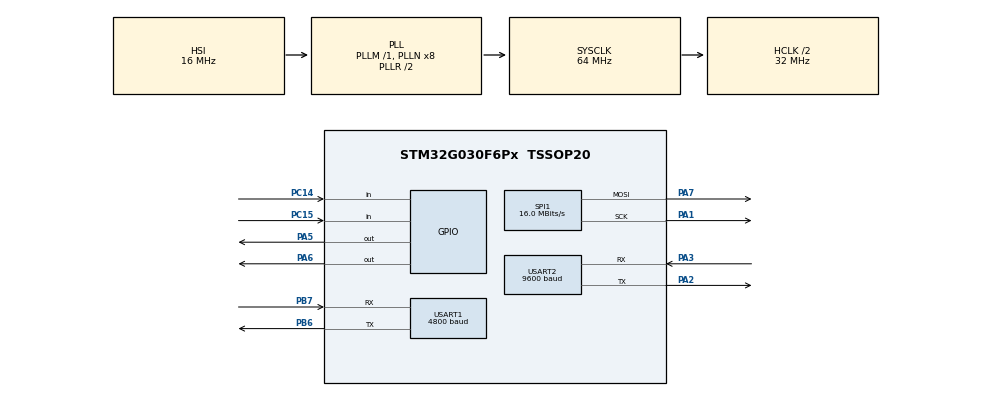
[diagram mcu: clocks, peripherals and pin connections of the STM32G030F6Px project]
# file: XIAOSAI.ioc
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Dma.Request0=USART1_RX
Dma.USART1_RX.0.Direction=DMA_PERIPH_TO_MEMORY
Dma.USART1_RX.0.EventEnable=DISABLE
Dma.USART1_RX.0.Instance=DMA1_Channel1
Dma.USART1_RX.0.MemDataAlignment=DMA_MDATAALIGN_BYTE
Dma.USART1_RX.0.MemInc=DMA_MINC_ENABLE
Dma.USART1_RX.0.Mode=DMA_NORMAL
Dma.USART1_RX.0.PeriphDataAlignment=DMA_PDATAALIGN_BYTE
Dma.USART1_RX.0.PeriphInc=DMA_PINC_DISABLE
Dma.USART1_RX.0.Polarity=HAL_DMAMUX_REQ_GEN_RISING
Dma.USART1_RX.0.Priority=DMA_PRIORITY_MEDIUM
Dma.USART1_RX.0.RequestNumber=1
Dma.USART1_RX.0.SignalID=NONE
Dma.USART1_RX.0.SyncEnable=DISABLE
Dma.USART1_RX.0.SyncPolarity=HAL_DMAMUX_SYNC_NO_EVENT
Dma.USART1_RX.0.SyncRequestNumber=1
Dma.USART1_RX.0.SyncSignalID=NONE
Mcu.Family=STM32G0
Mcu.Name=STM32G030F6Px
Mcu.Package=TSSOP20
NVIC.DMA1_Channel1_IRQn=true\:0\:0\:false\:false\:true\:false\:true\:true
NVIC.TIM3_IRQn=true\:0\:0\:false\:false\:true\:true\:true\:true
NVIC.USART1_IRQn=true\:1\:0\:true\:false\:true\:true\:true\:true
PA1.Mode=TX_Only_Simplex_Unidirect_Master
PA1.Signal=SPI1_SCK
PA13.Mode=Serial_Wire
PA13.Signal=SYS_SWDIO
PA14-BOOT0.Mode=Serial_Wire
PA14-BOOT0.Signal=SYS_SWCLK
PA14-BOOT0__PA15.StandardMode=true
PA2.Mode=Asynchronous
PA2.Signal=USART2_TX
PA3.Mode=Asynchronous
PA3.Signal=USART2_RX
PA5.GPIO_ModeDefaultOutputPP=GPIO_MODE_OUTPUT_PP
PA5.GPIO_Speed=GPIO_SPEED_FREQ_HIGH
PA5.PinState=GPIO_PIN_SET
PA5.Signal=GPIO_Output
PA6.Signal=GPIO_Output
PA7.Mode=TX_Only_Simplex_Unidirect_Master
PA7.Signal=SPI1_MOSI
PB0__PB1__PB2__PA8.StandardMode=true
PB3__PB4__PB5__PB6.StandardMode=true
PB6.Mode=Asynchronous
PB6.Signal=USART1_TX
PB7.Mode=Asynchronous
PB7.Signal=USART1_RX
PB7__PB8.StandardMode=true
PC14-OSC32_IN\ (PC14).GPIO_PuPd=GPIO_PULLUP
PC14-OSC32_IN\ (PC14).Signal=GPIO_Input
PC14-OSC32_IN\ (PC14)__PB9.StandardMode=true
PC15-OSC32_OUT\ (PC15).GPIO_PuPd=GPIO_PULLUP
PC15-OSC32_OUT\ (PC15).Signal=GPIO_Input
ProjectManager.HeapSize=0x200
ProjectManager.StackSize=0x400
ProjectManager.TargetToolchain=MDK-ARM V5.32
RCC.ADCFreq_Value=64000000
RCC.AHBCLKDivider=RCC_SYSCLK_DIV2
RCC.AHBFreq_Value=32000000
RCC.CortexFreq_Value=32000000
RCC.EXTERNAL_CLOCK_VALUE=12288000
RCC.HCLKFreq_Value=32000000
RCC.HSE_VALUE=8000000
RCC.HSI_VALUE=16000000
RCC.LSE_VALUE=32768
RCC.SYSCLKFreq_VALUE=64000000
RCC.SYSCLKSource=RCC_SYSCLKSOURCE_PLLCLK
RCC.VCOOutputFreq_Value=128000000
SPI1.CalculateBaudRate=16.0 MBits/s
SPI1.Direction=SPI_DIRECTION_2LINES
SPI1.Mode=SPI_MODE_MASTER
SPI1.NSSPMode=SPI_NSS_PULSE_DISABLE
SPI1.VirtualType=VM_MASTER
TIM3.Period=100-1
TIM3.Prescaler=3200-1
USART1.BaudRate=4800
USART1.DMADisableonRxErrorParam=ADVFEATURE_DMA_ENABLEONRXERROR
USART1.Mode=MODE_TX_RX
USART1.Parity=PARITY_EVEN
USART1.VirtualMode-Asynchronous=VM_ASYNC
USART1.WordLength=WORDLENGTH_9B
USART2.BaudRate=9600
USART2.VirtualMode-Asynchronous=VM_ASYNC
VP_TIM3_VS_ClockSourceINT.Mode=Internal
board=custom

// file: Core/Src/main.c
/* USER CODE BEGIN Header */
/**
  ******************************************************************************
  * @file           : main.c
  * @brief          : Main program body
  ******************************************************************************
  * @attention
  *
  * Copyright (c) 2024 STMicroelectronics.
  * All rights reserved.
  *
  * This software is licensed under terms that can be found in the LICENSE file
  * in the root directory of this software component.
  * If no LICENSE file comes with this software, it is provided AS-IS.
  *
  ******************************************************************************
  */
/* USER CODE END Header */
#include "main.h"
#include "dma.h"
#include "spi.h"
#include "tim.h"
#include "usart.h"
#include "gpio.h"

/* USER CODE BEGIN Includes */
#include "stdio.h"
#include "oled.h"
#include "screen.h"
#include "interrupt.h"
#include "hlw8032.h"
#include "string.h"
/* USER CODE END Includes */

/* USER CODE BEGIN PV */
uint8_t scr;

//定义屏幕刷新状态机
struct SCR scra={0,0,0};//新状态
struct SCR scro={0,0,0};//旧状态

//定义设备检测状态机
bool dev_key =0;

//全局调用按键结构体
extern struct keys key[];

//数据处理进度状态机
uint8_t HLW_sta=0;

//串口1
uint8_t Resbuf[48]; //串口1接收缓冲区
uint8_t RawData[24]; //缓冲区中读出整组数据
uint16_t Receive; //串口读取临时数据

uint8_t uart_flag =100;//有效数据在缓冲区中位置，100表示未找到有效数据

//电参数
float V =0; //有效电压
double C =0;//有效电流
double P =0;//有功功率
double E_CON =0;
double AP =0;//视在功率
double PF =0;//功率因数

//声明电参数寄存器结构体
struct REG reg={0,0,0,0,0,0} ;

//设备特征
struct DEV device[7];

/* USER CODE END PV */

void SystemClock_Config(void);

int main(void)
{

  /* MCU Configuration--------------------------------------------------------*/

  /* Reset of all peripherals, Initializes the Flash interface and the Systick. */
  HAL_Init();

  /* Configure the system clock */
  SystemClock_Config();

  /* Initialize all configured peripherals */
  MX_GPIO_Init();
  MX_DMA_Init();
  MX_SPI1_Init();
  MX_USART1_UART_Init();
  MX_USART2_UART_Init();
  MX_TIM3_Init();
  /* USER CODE BEGIN 2 */

	//读入设备特征量
	device[0].pow = 5;//1.最小电流用电器（开关电源串电阻）
	device[0].fac = 50;
	device[0].ps = 2;
	device[0].fs = 10;
	device[1].pow = 8;//2.iPhone
	device[1].fac = 41;
	device[1].ps = 2;
	device[1].fs = 2;
	device[2].pow = 31;//3.平板电脑
	device[2].fac = 54;
	device[2].ps = 2;
	device[2].fs = 2;
	device[3].pow = 40;//4.笔记本电脑
	device[3].fac = 50;
	device[3].ps = 10;
	device[3].fs = 10;
	device[4].pow = 35;//5.路由器
	device[4].fac = 50;
	device[4].ps = 10;
	device[4].fs = 10;
	device[5].pow = 35;//6.台式机电脑
	device[5].fac = 50;
	device[5].ps = 10;
	device[5].fs = 10;
	device[6].pow = 1200;//7.最大功率用电器（烧水壶）
	device[6].fac = 95;
	device[6].ps = 200;
	device[6].fs = 10;

	//初始化屏幕状态机
	scra.page_flag =0;
	scra.page1 =0;
	scro.page_flag =0;
	scro.page1 =0;

	//初始化定时器中断
	HAL_TIM_Base_Start_IT (&htim3 );
	printf("TIM_IT_ON \r\n");

	//初始化OLED显示
	OLED_Init();
  SCREEN_Start();
	HAL_Delay(2000);
  OLED_Clear();
	SCREEN_First_EN();
	OLED_Refresh();

	printf("OLED_ON \r\n");

  /* USER CODE END 2 */

  /* Infinite loop */
  /* USER CODE BEGIN WHILE */
  while (1)
  {

		GetData();

		SerchData();

		//转移数据包
		if(uart_flag<=24){
			for(int i=0;i<=23;i++){
			  RawData [i]=Resbuf [uart_flag+i];
		  }
		}
		uart_flag=100;

		//分离寄存器值
		RawTrans();

		ProcessData();

		//InputData();

		//按键事件_刷新屏幕
		if(key [0].s_flag ==1)
		{
			SCRPP();
			key [0].s_flag =0;
		}
		if(key [0].l_flag ==1)
		{
			if (scra.page_flag ==0) scra.page_flag =1;
			else scra.page_flag =0;
			key [0].l_flag =0;
		}

		//按键事件，用电器检测
		if(key [1].s_flag ==1)
		{
			//单击开始检测
			dev_key=1;
			key [1].s_flag =0;
			int comp =Compare();
			OLED_ShowNum(70,0,comp+1,3,12);
			OLED_Refresh();
		}

		if(key [0].l_flag ==1)
		{
			if (scra.page_flag ==0) scra.page_flag =1;
			else scra.page_flag =0;
			key [0].l_flag =0;
		}

    /* USER CODE END WHILE */

  }
}

void SystemClock_Config(void)
{
  RCC_OscInitTypeDef RCC_OscInitStruct = {0};
  RCC_ClkInitTypeDef RCC_ClkInitStruct = {0};

  /** Configure the main internal regulator output voltage
  */
  HAL_PWREx_ControlVoltageScaling(PWR_REGULATOR_VOLTAGE_SCALE1);

  /** Initializes the RCC Oscillators according to the specified parameters
  * in the RCC_OscInitTypeDef structure.
  */
  RCC_OscInitStruct.OscillatorType = RCC_OSCILLATORTYPE_HSI;
  RCC_OscInitStruct.HSIState = RCC_HSI_ON;
  RCC_OscInitStruct.HSIDiv = RCC_HSI_DIV1;
  RCC_OscInitStruct.HSICalibrationValue = RCC_HSICALIBRATION_DEFAULT;
  RCC_OscInitStruct.PLL.PLLState = RCC_PLL_ON;
  RCC_OscInitStruct.PLL.PLLSource = RCC_PLLSOURCE_HSI;
  RCC_OscInitStruct.PLL.PLLM = RCC_PLLM_DIV1;
  RCC_OscInitStruct.PLL.PLLN = 8;
  RCC_OscInitStruct.PLL.PLLP = RCC_PLLP_DIV2;
  RCC_OscInitStruct.PLL.PLLR = RCC_PLLR_DIV2;
  if (HAL_RCC_OscConfig(&RCC_OscInitStruct) != HAL_OK)
  {
    Error_Handler();
  }

  /** Initializes the CPU, AHB and APB buses clocks
  */
  RCC_ClkInitStruct.ClockType = RCC_CLOCKTYPE_HCLK|RCC_CLOCKTYPE_SYSCLK
                              |RCC_CLOCKTYPE_PCLK1;
  RCC_ClkInitStruct.SYSCLKSource = RCC_SYSCLKSOURCE_PLLCLK;
  RCC_ClkInitStruct.AHBCLKDivider = RCC_SYSCLK_DIV2;
  RCC_ClkInitStruct.APB1CLKDivider = RCC_HCLK_DIV1;

  if (HAL_RCC_ClockConfig(&RCC_ClkInitStruct, FLASH_LATENCY_1) != HAL_OK)
  {
    Error_Handler();
  }
}

/* USER CODE BEGIN 4 */

//屏幕循环显示状态机更新函数
void SCRPP(void){
	if (scra.page_flag ==0){
		if (scra.page1 ==1) {
			scra.page1 =0;
		}
		else {
			scra.page1 =1;
		}
	}
	else {
		if (scra.page2 ==6) {
			scra.page2 =0;
		}
		else {
			scra.page2 ++;
		}
	}
}

//串口2重定向函数
int fputc(int ch, FILE *f)

{

  HAL_UART_Transmit(&huart2, (uint8_t *)&ch, 1, 0xffff);

  return ch;

}

/* USER CODE END 4 */

void Error_Handler(void)
{
  __disable_irq();
  while (1)
  {
  }
}
